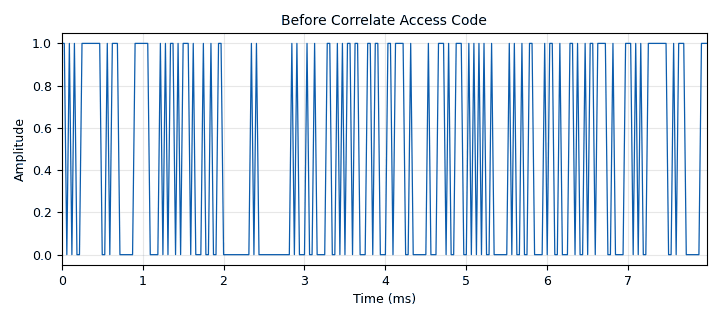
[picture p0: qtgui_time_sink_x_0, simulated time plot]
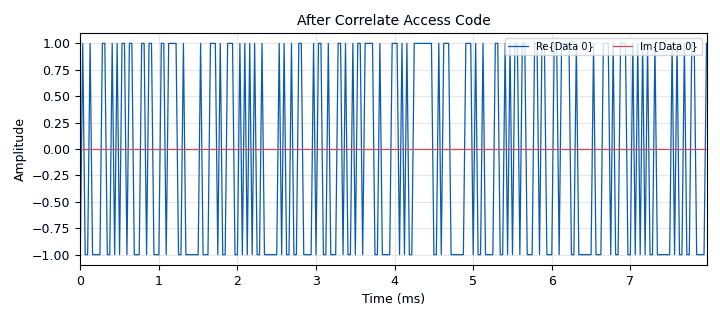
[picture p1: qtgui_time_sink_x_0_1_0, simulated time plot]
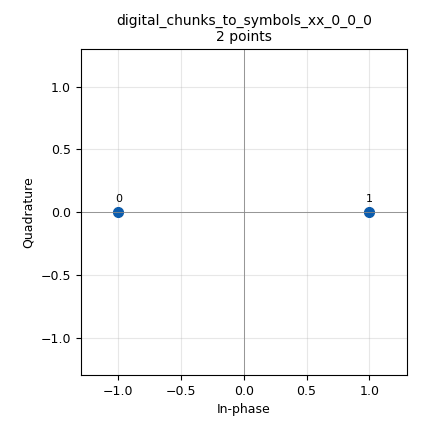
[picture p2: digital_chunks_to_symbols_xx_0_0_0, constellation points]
options:
  parameters:
    author: Inspired from a flowgraph by Aaron Scher
    generate_options: qt_gui
    id: ex_fig_6_2
    output_language: python
    title: Figure 6.2 Packet communication using message and stream blocks
  states: {}

blocks:
- name: samp_rate
  id: variable
  parameters:
    value: '32000'
  states: {}
- name: blocks_message_strobe_0_0
  id: blocks_message_strobe
  parameters:
    comment: Generate payload message
    msg: pmt.cons(pmt.make_dict(), pmt.pmt_to_python.numpy_to_uvector(numpy.array([ord(c) for c in "Hello GNU Radio!"], numpy.uint8)))
    period: '1000'
  states: {}
- name: blocks_repack_bits_bb_0_0
  id: blocks_repack_bits_bb
  parameters:
    endianness: gr.GR_MSB_FIRST
    k: '8'
    l: digital.constellation_bpsk().bits_per_symbol()
    len_tag_key: tr_len_key
  states: {}
- name: blocks_repack_bits_bb_0_0_0
  id: blocks_repack_bits_bb
  parameters:
    endianness: gr.GR_MSB_FIRST
    k: '1'
    l: '8'
    len_tag_key: rcv_len_key
  states: {}
- name: blocks_tag_gate_0_0
  id: blocks_tag_gate
  parameters:
    comment: Removes tags (not sent on a real channel)
    propagate_tags: 'False'
    type: byte
  states: {}
- name: blocks_tagged_stream_mux_0
  id: blocks_tagged_stream_mux
  parameters:
    comment: Append header to payload
    lengthtagname: tr_len_key
    ninputs: '2'
    type: byte
  states: {}
- name: blocks_throttle2_0
  id: blocks_throttle2
  parameters:
    samples_per_second: samp_rate
    type: byte
  states: {}
- name: blocks_uchar_to_float_0
  id: blocks_uchar_to_float
  parameters: {}
  states: {}
- name: digital_chunks_to_symbols_xx_0_0_0
  id: digital_chunks_to_symbols_xx
  parameters:
    dimension: '1'
    in_type: byte
    out_type: complex
    symbol_table: digital.constellation_bpsk().points()
  states: {}
- name: digital_correlate_access_code_xx_ts_1
  id: digital_correlate_access_code_xx_ts
  parameters:
    access_code: '''11100001010110101110100010010011'''
    comment: Correlates with access code to extract the payload.
    tagname: rcv_len_key
    threshold: '0'
    type: byte
  states: {}
- name: digital_crc_append_0
  id: digital_crc_append
  parameters:
    input_reflected: 'False'
    poly: '0x4C11DB7'
    result_reflected: 'False'
  states: {}
- name: digital_crc_check_0
  id: digital_crc_check
  parameters:
    discard_crc: 'True'
    input_reflected: 'False'
    poly: '0x4C11DB7'
    result_reflected: 'False'
  states: {}
- name: digital_protocol_formatter_bb_0
  id: digital_protocol_formatter_bb
  parameters:
    comment: Generate header
    format: hdr_format
    len_tag_key: tr_len_key
  states: {}
- name: epy_block_1
  id: epy_block
  parameters:
    _source_code: "\"\"\"\nEmbedded Python Block\n\"\"\"\n\nimport numpy as np\nfrom gnuradio import gr\nimport pmt\n\nclass blk(gr.sync_block):\n    \"\"\"Packet Print ASCII\"\"\"\n\n    def __init__(self):\n        gr.sync_block.__init__(self,\n            name = \"Packet Print ASCII\",\n            in_sig = None,\n            out_sig = None)\n        self.message_port_register_in(pmt.intern('PDU_in'))\n       \n        self.set_msg_handler(pmt.intern('PDU_in'), self.handle_msg)\n\n    def handle_msg(self, msg):\n        inMsg = pmt.to_python (msg)\n        pld = inMsg[1]\n        \n        res = \"\"\n        for i in pld:\n    \t    res = res + chr(i)\n        \n        print (str(res))\n       \n"
    comment: |-
      Prints payload in
      ASCII format
  states: {}
- name: hdr_format
  id: parameter
  parameters:
    label: Header Formatter
    value: digital.header_format_default('11100001010110101110100010010011', 0)
  states: {}
- name: import_0
  id: import
  parameters:
    imports: import numpy
  states: {}
- name: pdu_pdu_to_tagged_stream_0
  id: pdu_pdu_to_tagged_stream
  parameters:
    tag: tr_len_key
    type: byte
  states: {}
- name: pdu_tagged_stream_to_pdu_0
  id: pdu_tagged_stream_to_pdu
  parameters:
    tag: rcv_len_key
    type: byte
  states: {}
- name: qtgui_time_sink_x_0
  id: qtgui_time_sink_x
  parameters:
    autoscale: 'True'
    name: '"Before Correlate Access Code"'
    size: '256'
    srate: samp_rate
    type: float
  states: {}
- name: qtgui_time_sink_x_0_1_0
  id: qtgui_time_sink_x
  parameters:
    autoscale: 'True'
    label1: ''
    label2: ''
    name: '"After Correlate Access Code"'
    size: '256'
    srate: samp_rate
    tr_mode: qtgui.TRIG_MODE_TAG
    tr_tag: '"rcv_len_key"'
    type: complex
  states: {}
- name: virtual_sink_0
  id: virtual_sink
  parameters:
    stream_id: to_chan
  states: {}
- name: virtual_sink_1
  id: virtual_sink
  parameters:
    stream_id: from_chan
  states: {}
- name: virtual_source_0
  id: virtual_source
  parameters:
    stream_id: to_chan
  states: {}
- name: virtual_source_1
  id: virtual_source
  parameters:
    stream_id: from_chan
  states: {}

connections:
- [blocks_message_strobe_0_0, strobe, digital_crc_append_0, in]
- [blocks_repack_bits_bb_0_0, '0', virtual_sink_0, '0']
- [blocks_repack_bits_bb_0_0_0, '0', pdu_tagged_stream_to_pdu_0, '0']
- [blocks_tag_gate_0_0, '0', virtual_sink_1, '0']
- [blocks_tagged_stream_mux_0, '0', blocks_throttle2_0, '0']
- [blocks_throttle2_0, '0', blocks_repack_bits_bb_0_0, '0']
- [blocks_uchar_to_float_0, '0', qtgui_time_sink_x_0, '0']
- [digital_chunks_to_symbols_xx_0_0_0, '0', qtgui_time_sink_x_0_1_0, '0']
- [digital_correlate_access_code_xx_ts_1, '0', blocks_repack_bits_bb_0_0_0, '0']
- [digital_correlate_access_code_xx_ts_1, '0', digital_chunks_to_symbols_xx_0_0_0, '0']
- [digital_crc_append_0, out, pdu_pdu_to_tagged_stream_0, pdus]
- [digital_crc_check_0, ok, epy_block_1, PDU_in]
- [digital_protocol_formatter_bb_0, '0', blocks_tagged_stream_mux_0, '0']
- [pdu_pdu_to_tagged_stream_0, '0', blocks_tagged_stream_mux_0, '1']
- [pdu_pdu_to_tagged_stream_0, '0', digital_protocol_formatter_bb_0, '0']
- [pdu_tagged_stream_to_pdu_0, pdus, digital_crc_check_0, in]
- [virtual_source_0, '0', blocks_tag_gate_0_0, '0']
- [virtual_source_1, '0', blocks_uchar_to_float_0, '0']
- [virtual_source_1, '0', digital_correlate_access_code_xx_ts_1, '0']

metadata:
  file_format: 1
  grc_version: 3.10.9.2
